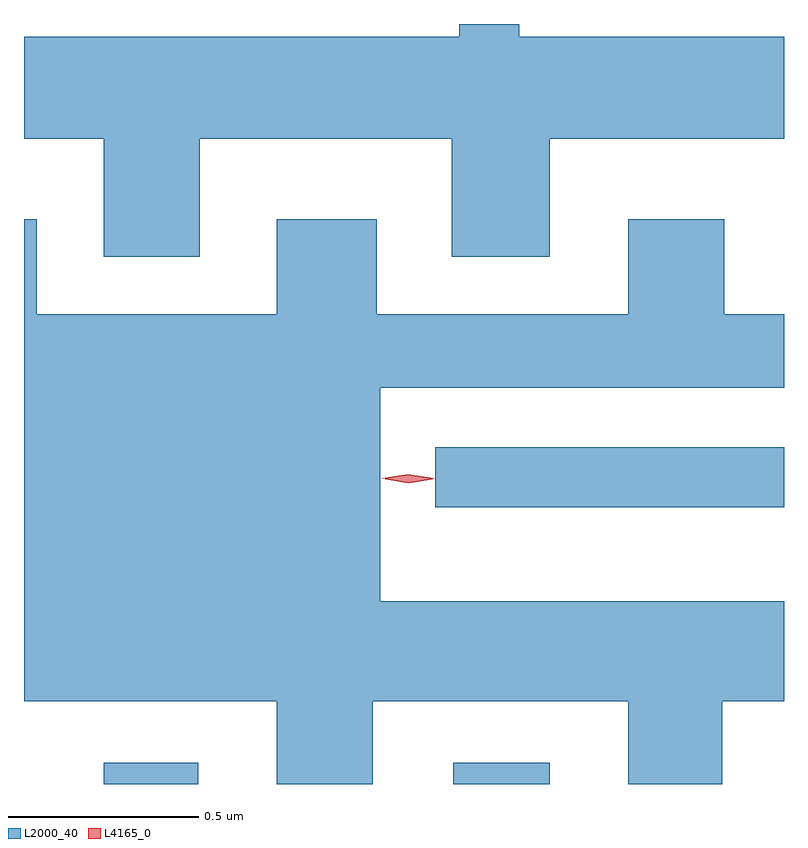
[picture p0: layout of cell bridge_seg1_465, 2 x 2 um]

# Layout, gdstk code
import gdstk
lib = gdstk.Library(unit=1e-6, precision=1e-09)
def R(c, l, rs):  # rectangles x0, y0, x1, y1
    for r in rs: c.add(gdstk.rectangle(r[:2], r[2:], *l))
def P(c, l, *ps):  # polygons
    for p in ps: c.add(gdstk.Polygon(p, *l))
L2000_40 = (2000, 40)
L4165_0 = (4165, 0)

bridge_seg1_465 = lib.new_cell('bridge_seg1_465')
R(bridge_seg1_465, L2000_40, [(343.671,849.038,343.919,849.094), (344.591,849.038,344.844,849.094), (344.543,849.766,345.461,849.924)])
P(bridge_seg1_465, L2000_40, [(343.924,850.736),(344.586,850.736),(344.586,850.426),(344.844,850.426),(344.844,850.736),(345.461,850.736),(345.461,851.004),(344.764,851.004),(344.764,851.038),(344.606,851.038),(344.606,851.004),(343.461,851.004),(343.461,850.736),(343.671,850.736),(343.671,850.426),(343.924,850.426)],
  [(344.379,849.256),(345.051,849.256),(345.051,849.038),(345.299,849.038),(345.299,849.256),(345.461,849.256),(345.461,849.519),(344.399,849.519),(344.399,850.081),(345.461,850.081),(345.461,850.274),(345.304,850.274),(345.304,850.524),(345.051,850.524),(345.051,850.274),(344.389,850.274),(344.389,850.524),(344.126,850.524),(344.126,850.274),(343.494,850.274),(343.494,850.524),(343.461,850.524),(343.461,849.256),(344.126,849.256),(344.126,849.038),(344.379,849.038)])
P(bridge_seg1_465, L4165_0, [(344.474,849.83),(344.412,849.84),(344.412,849.84),(344.412,849.84),(344.474,849.85),(344.536,849.841),(344.537,849.84),(344.536,849.84)],
  [(344.471,849.833),(344.403,849.842),(344.402,849.843),(344.403,849.843),(344.471,849.853),(344.54,849.843),(344.54,849.843),(344.54,849.842)])

lib.write_gds('bridge_seg1_465.gds')
